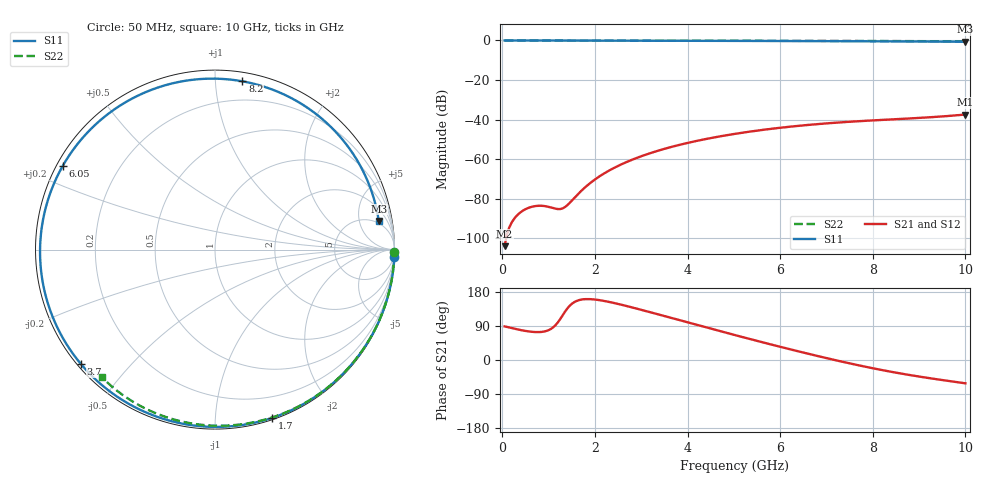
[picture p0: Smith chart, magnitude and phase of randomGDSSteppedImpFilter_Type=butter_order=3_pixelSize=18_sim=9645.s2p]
! freq	dB(S11)	phase(S11)	dB(S12)	phase(S12)
!  dB(S21)	phase(S21)	dB(S22)	phase(S22)
!S-par simulation data
#  GHz  S  DB  R 50
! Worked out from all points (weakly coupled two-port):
!   200 points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, 50 MHz to 10 GHz, reference 50 ohm
!   highest |S21| = -37.43 dB at 10 GHz (marker M1); lowest = -104.0 dB at 50 MHz (marker M2)
!   lowest |S11| = -0.7 dB at 10 GHz (marker M3), VSWR 26.10, Z = 213 + j480 ohm
!   |S11| at or under -10 dB: nowhere
!   |S22| runs from -0.4 to 0.0 dB; largest |S21 - S12| = 0
!   S11 on the Smith chart (normalised r, x): 50 MHz: 0, -52; 1.7 GHz: 0.01, -1.39; 3.7 GHz: 0.01, -0.37; 6.05 GHz: 0.02, +0.26; 8.2 GHz: 0.06, +1.17; 10 GHz: 4, +10
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0.05  -0.00 -2.2  -103.95 88.6  -103.95 88.6  -0.00 -0.8
0.7  -0.04 -30.5  -83.74 73.8  -83.74 73.8  -0.01 -10.6
1.1  -0.06 -47.3  -84.70 86.3  -84.70 86.3  -0.02 -16.6
1.5  -0.08 -63.5  -80.98 148.1  -80.98 148.1  -0.03 -22.6
1.55  -0.08 -65.5  -79.72 152.4  -79.72 152.4  -0.03 -23.3
1.7  -0.09 -71.3  -76.11 159.3  -76.11 159.3  -0.03 -25.5
1.75  -0.09 -73.3  -75.00 160.2  -75.00 160.2  -0.03 -26.2
2.05  -0.10 -84.5  -69.44 158.8  -69.44 158.8  -0.04 -30.6
2.45  -0.11 -98.9  -63.97 149.4  -63.97 149.4  -0.05 -36.5
3.4  -0.15 -130.3  -55.46 119.3  -55.46 119.3  -0.07 -50.0
3.7  -0.16 -139.6  -53.51 109.3  -53.51 109.3  -0.07 -54.1
4.4  -0.19 -160.6  -49.78 86.1  -49.78 86.1  -0.09 -63.7
5.05  -0.22 -179.5  -47.10 64.9  -47.10 64.9  -0.11 -72.3
5.55  -0.25 165.9  -45.41 48.9  -45.41 48.9  -0.13 -78.8
6.05  -0.28 151.2  -43.99 33.3  -43.99 33.3  -0.15 -85.1
6.7  -0.33 131.3  -42.49 13.7  -42.49 13.7  -0.18 -93.2
7.5  -0.39 105.3  -41.08 -8.9  -41.08 -8.9  -0.23 -102.9
8.2  -0.45 80.7  -40.14 -26.6  -40.14 -26.6  -0.28 -111.1
8.35  -0.46 75.2  -39.96 -30.0  -39.96 -30.0  -0.29 -112.8
9.1  -0.54 46.5  -39.01 -45.6  -39.01 -45.6  -0.35 -121.4
9.55  -0.59 28.4  -38.31 -53.8  -38.31 -53.8  -0.40 -126.5
10  -0.67 10.0  -37.43 -61.5  -37.43 -61.5  -0.45 -131.6
